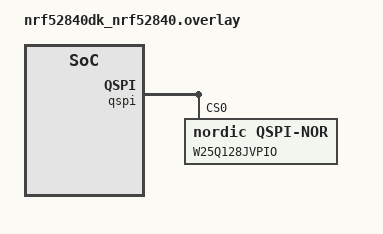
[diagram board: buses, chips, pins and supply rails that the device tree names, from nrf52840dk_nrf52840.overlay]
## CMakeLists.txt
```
cmake_minimum_required(VERSION 3.20.0)
find_package(Zephyr REQUIRED HINTS $ENV{ZEPHYR_BASE})

project(qspi0)

target_sources(app PRIVATE src/main.c)
```

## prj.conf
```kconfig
CONFIG_FLASH=y
```

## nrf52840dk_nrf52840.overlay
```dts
/*


&qspi {
	status = "okay";
	pinctrl-0 = <&qspi_default>;
	pinctrl-1 = <&qspi_sleep>;
	pinctrl-names = "default", "sleep";
	//mx25r64: mx25r6435f@0 {
	//	compatible = "nordic,qspi-nor";
	//	reg = <0>;
	//	writeoc = "pp4io";
	//	readoc = "read4io";
	//	sck-frequency = <8000000>;
	//	jedec-id = [c2 28 17];
	//	sfdp-bfp = [
	//		e5 20 f1 ff  ff ff ff 03  44 eb 08 6b  08 3b 04 bb
	//		ee ff ff ff  ff ff 00 ff  ff ff 00 ff  0c 20 0f 52
	//		10 d8 00 ff  23 72 f5 00  82 ed 04 cc  44 83 68 44
	//		30 b0 30 b0  f7 c4 d5 5c  00 be 29 ff  f0 d0 ff ff
	//	];
	//	size = <67108864>;
	//	has-dpd;
	//	t-enter-dpd = <10000>;
	//	t-exit-dpd = <35000>;
	//};

	w25q16: w25q16@0 {
		compatible = "jedec,spi-nor";
		reg = <0>;
		//writeoc = "pp4io";
		//readoc = "read4io";
		//jedec-id = [ef 40 15]; // UPDATE ME PLS
		sck-max-frequency = <16000000>;
		size = <16777216>;
	};
};*/

&qspi {
	pinctrl-0 = <&qspi_default>;
	pinctrl-1 = <&qspi_sleep>;
	pinctrl-names = "default", "sleep";

    //flash-id = <2>;
    status = "okay";

    w25q128jvpio: qspi-nor-flash@0 {
        compatible = "nordic,qspi-nor";
        label = "W25Q128JVPIO";
        reg = <0>;
        sck-frequency = <100000000>;
        size = <DT_SIZE_M(16*8)>;
        //spi-bus-width = <4>;
        status = "okay";
		jedec-id = [ef 40 15];

        //partitions {
        //       compatible = "fixed-partitions";
        //       #address-cells = <1>;
        //       #size-cells = <1>;

        //       storage_partition: partition@0 {
        //           label = "storage";
        //           reg = <0x0 DT_SIZE_M(16*8)>;
        //       };
        //};
    };
};
```

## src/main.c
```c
#include <zephyr/kernel.h>

#include <zephyr/drivers/flash.h>
#include <zephyr/device.h>
#include <zephyr/devicetree.h>
#include <stdio.h>
#include <string.h>


// get dt alias???
#define SPI_FLASH_COMPAT nordic_qspi_nor

// not sure what this offsets exactly.. flash region I guess...
#define SPI_FLASH_TEST_REGION_OFFSET 0xff000

// size of each flash sector... might need to change
#define SPI_FLASH_SECTOR_SIZE        4096

const uint8_t erased[] = { 0xff, 0xff, 0xff, 0xff };

void single_sector_test(const struct device *flash_dev)
{
	const uint8_t expected[] = { 0x55, 0xaa, 0x66, 0x99 };
	const size_t len = sizeof(expected);
	uint8_t buf[sizeof(expected)];
	int rc;

	printf("\nPerform test on single sector");
	/* Write protection needs to be disabled before each write or
	 * erase, since the flash component turns on write protection
	 * automatically after completion of write and erase
	 * operations.
	 */
	printf("\nTest 1: Flash erase\n");

	/* Full flash erase if SPI_FLASH_TEST_REGION_OFFSET = 0 and
	 * SPI_FLASH_SECTOR_SIZE = flash size
	 */
	rc = flash_erase(flash_dev, SPI_FLASH_TEST_REGION_OFFSET,
			 SPI_FLASH_SECTOR_SIZE);
	if (rc != 0) {
		printf("Flash erase failed! %d\n", rc);
	} else {
		/* Check erased pattern */
		memset(buf, 0, len);
		rc = flash_read(flash_dev, SPI_FLASH_TEST_REGION_OFFSET, buf, len);
		if (rc != 0) {
			printf("Flash read failed! %d\n", rc);
			return;
		}
		if (memcmp(erased, buf, len) != 0) {
			printf("Flash erase failed at offset 0x%x got 0x%x\n",
				SPI_FLASH_TEST_REGION_OFFSET, *(uint32_t *)buf);
			return;
		}
		printf("Flash erase succeeded!\n");
	}
	printf("\nTest 2: Flash write\n");

	printf("Attempting to write %zu bytes\n", len);
	rc = flash_write(flash_dev, SPI_FLASH_TEST_REGION_OFFSET, expected, len);
	if (rc != 0) {
		printf("Flash write failed! %d\n", rc);
		return;
	}

	memset(buf, 0, len);
	rc = flash_read(flash_dev, SPI_FLASH_TEST_REGION_OFFSET, buf, len);
	if (rc != 0) {
		printf("Flash read failed! %d\n", rc);
		return;
	}

	if (memcmp(expected, buf, len) == 0) {
		printf("Data read matches data written. Good!!\n");
	} else {
		const uint8_t *wp = expected;
		const uint8_t *rp = buf;
		const uint8_t *rpe = rp + len;

		printf("Data read does not match data written!!\n");
		while (rp < rpe) {
			printf("%08x wrote %02x read %02x %s\n",
			       (uint32_t)(SPI_FLASH_TEST_REGION_OFFSET + (rp - buf)),
			       *wp, *rp, (*rp == *wp) ? "match" : "MISMATCH");
			++rp;
			++wp;
		}
	}
}

#if defined SPI_FLASH_MULTI_SECTOR_TEST
void multi_sector_test(const struct device *flash_dev)
{
	const uint8_t expected[] = { 0x55, 0xaa, 0x66, 0x99 };
	const size_t len = sizeof(expected);
	uint8_t buf[sizeof(expected)];
	int rc;

	printf("\nPerform test on multiple consecutive sectors");

	/* Write protection needs to be disabled before each write or
	 * erase, since the flash component turns on write protection
	 * automatically after completion of write and erase
	 * operations.
	 */
	printf("\nTest 1: Flash erase\n");

	/* Full flash erase if SPI_FLASH_TEST_REGION_OFFSET = 0 and
	 * SPI_FLASH_SECTOR_SIZE = flash size
	 * Erase 2 sectors for check for erase of consequtive sectors
	 */
	rc = flash_erase(flash_dev, SPI_FLASH_TEST_REGION_OFFSET, SPI_FLASH_SECTOR_SIZE * 2);
	if (rc != 0) {
		printf("Flash erase failed! %d\n", rc);
	} else {
		/* Read the content and check for erased */
		memset(buf, 0, len);
		size_t offs = SPI_FLASH_TEST_REGION_OFFSET;

		while (offs < SPI_FLASH_TEST_REGION_OFFSET + 2 * SPI_FLASH_SECTOR_SIZE) {
			rc = flash_read(flash_dev, offs, buf, len);
			if (rc != 0) {
				printf("Flash read failed! %d\n", rc);
				return;
			}
			if (memcmp(erased, buf, len) != 0) {
				printf("Flash erase failed at offset 0x%x got 0x%x\n",
				offs, *(uint32_t *)buf);
				return;
			}
			offs += SPI_FLASH_SECTOR_SIZE;
		}
		printf("Flash erase succeeded!\n");
	}

	printf("\nTest 2: Flash write\n");

	size_t offs = SPI_FLASH_TEST_REGION_OFFSET;

	while (offs < SPI_FLASH_TEST_REGION_OFFSET + 2 * SPI_FLASH_SECTOR_SIZE) {
		printf("Attempting to write %zu bytes at offset 0x%x\n", len, offs);
		rc = flash_write(flash_dev, offs, expected, len);
		if (rc != 0) {
			printf("Flash write failed! %d\n", rc);
			return;
		}

		memset(buf, 0, len);
		rc = flash_read(flash_dev, offs, buf, len);
		if (rc != 0) {
			printf("Flash read failed! %d\n", rc);
			return;
		}

		if (memcmp(expected, buf, len) == 0) {
			printf("Data read matches data written. Good!!\n");
		} else {
			const uint8_t *wp = expected;
			const uint8_t *rp = buf;
			const uint8_t *rpe = rp + len;

			printf("Data read does not match data written!!\n");
			while (rp < rpe) {
				printf("%08x wrote %02x read %02x %s\n",
					(uint32_t)(offs + (rp - buf)),
					*wp, *rp, (*rp == *wp) ? "match" : "MISMATCH");
				++rp;
				++wp;
			}
		}
		offs += SPI_FLASH_SECTOR_SIZE;
	}
}
#endif

int main(void)
{
	const struct device *flash_dev = DEVICE_DT_GET_ONE(SPI_FLASH_COMPAT);

	if (!device_is_ready(flash_dev)) {
		printk("%s: device not ready.\n", flash_dev->name);
		return 0;
	}

	printf("\n%s SPI flash testing\n", flash_dev->name);
	printf("==========================\n");

	single_sector_test(flash_dev);
#if defined SPI_FLASH_MULTI_SECTOR_TEST
	multi_sector_test(flash_dev);
#endif
	return 0;
}
```
